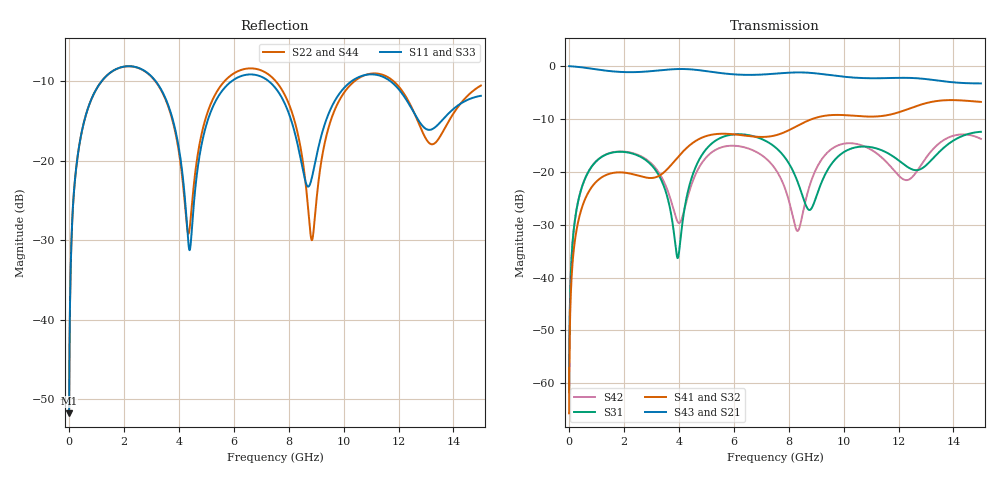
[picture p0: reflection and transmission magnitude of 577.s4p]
! Created with skrf 1.8.0 (http://scikit-rf.org).
# GHz S RI R 50.0
!freq ReS11 ImS11 ReS12 ImS12 ReS13 ImS13
! ReS14 ImS14
! ReS21 ImS21 ReS22 ImS22 ReS23 ImS23
! ReS24 ImS24
! ReS31 ImS31 ReS32 ImS32 ReS33 ImS33
! ReS34 ImS34
! ReS41 ImS41 ReS42 ImS42 ReS43 ImS43
! ReS44 ImS44
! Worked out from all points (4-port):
!   2499 points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, 5 MHz to 15 GHz, reference 50 ohm
!   strongest paths, dB at 5 MHz, 3.476 GHz, 7.19 GHz, 11.1 GHz, 15 GHz:
!     S43: 0.0, -0.7, -1.6, -2.3, -3.3
!     S21: 0.0, -0.7, -1.6, -2.3, -3.3
!     S41: -65.7, -20.0, -13.4, -9.6, -6.8
!     S32: -65.7, -20.0, -13.4, -9.6, -6.8
!     S31: -61.7, -23.0, -14.2, -15.4, -12.4
!     S42: -61.7, -22.1, -17.6, -16.1, -13.8
!   lowest |S11| = -51.8 dB at 5 MHz (marker M1), VSWR 1.01, Z = 50.2 + j0.156 ohm
!   |S11| at or under -10 dB: 3.158 GHz to 5.924 GHz (2.766 GHz wide, 60.9 % of centre); 7.275 GHz to 10.29 GHz (3.015 GHz wide, 34.3 % of centre); 11.71 GHz to end of sweep (the widest 3 of 4)
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0.005  0.00205 0.00155  0.9979 -0.00398  0.000104 0.000811  -0.000101 -0.00051
       0.9979 -0.00398  0.00205 0.00155  -0.000101 -0.00051  0.000104 0.000811
       0.000104 0.000811  -0.000101 -0.00051  0.00205 0.00156  0.9979 -0.00398
       -0.000101 -0.00051  0.000104 0.000811  0.9979 -0.00398  0.00205 0.00156
1.269279  0.2781 0.1749  0.5334 -0.7374  0.129 0.0599  -0.091 -0.00367
          0.5334 -0.7374  0.2778 0.1751  -0.0909 -0.00378  0.1304 0.0579
          0.129 0.0599  -0.0909 -0.00378  0.2782 0.1749  0.5334 -0.7374
          -0.091 -0.00367  0.1304 0.0579  0.5334 -0.7374  0.2778 0.1751
4.29554  0.0278 -0.0283  -0.9282 -0.1177  0.0277 0.0524  -0.0169 0.1682
         -0.9282 -0.1177  0.0346 -0.0169  -0.0185 0.168  -0.0305 0.0452
         0.0277 0.0524  -0.0185 0.168  0.0279 -0.0295  -0.9281 -0.1181
         -0.0169 0.1682  -0.0305 0.0452  -0.9281 -0.1181  0.0349 -0.0182
6.684035  0.3486 -0.000444  -0.0571 0.8228  0.1737 -0.132  0.2077 -0.0592
          -0.0571 0.8228  0.3789 -0.0365  0.2072 -0.0554  0.1593 -0.0188
          0.1737 -0.132  0.2072 -0.0554  0.3469 -0.00222  -0.0568 0.8238
          0.2077 -0.0592  0.1593 -0.0188  -0.0568 0.8238  0.3756 -0.0358
8.809921  0.0698 0.0244  0.8539 0.1164  -0.0304 0.0322  0.0297 -0.3112
          0.8539 0.1164  0.0311 -0.0114  0.037 -0.3103  0.049 0.0636
          -0.0304 0.0322  0.037 -0.3103  0.0673 0.027  0.8542 0.1146
          0.0297 -0.3112  0.049 0.0636  0.8542 0.1146  0.0318 -0.00902
11.54856  0.3242 -0.059  -0.1169 -0.759  0.0283 -0.1503  -0.3304 0.0867
          -0.1169 -0.759  0.3337 -0.0658  -0.3322 0.0761  0.0345 -0.1199
          0.0283 -0.1503  -0.3322 0.0761  0.3207 -0.0608  -0.1193 -0.76
          -0.3304 0.0867  0.0345 -0.1199  -0.1193 -0.76  0.3293 -0.0644
15  0.2556 0.0116  -0.3952 0.5611  0.2271 -0.0744  0.4194 0.1846
    -0.3952 0.5611  0.2938 0.0434  0.4092 0.1984  0.2047 0.00453
    0.2271 -0.0744  0.4092 0.1984  0.2647 0.00591  -0.3913 0.5629
    0.4194 0.1846  0.2047 0.00453  -0.3913 0.5629  0.2884 0.0476
